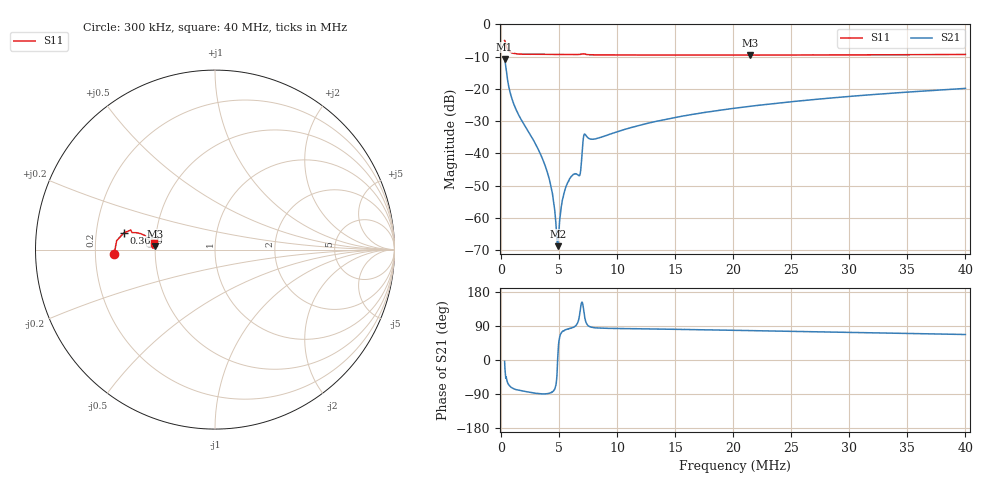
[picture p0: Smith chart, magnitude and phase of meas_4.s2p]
# HZ S RI R 50
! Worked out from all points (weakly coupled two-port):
!   1206 points, 300 kHz to 40 MHz, reference 50 ohm
!   highest |S21| = -10.73 dB at 300 kHz (marker M1); lowest = -68.8 dB at 4.879 MHz (marker M2)
!   lowest |S11| = -9.5 dB at 21.45 MHz (marker M3), VSWR 2.00, Z = 25 + j1.01 ohm
!   |S11| at or under -10 dB: nowhere
!   S12 and S22 are empty: the file has one direction only
!   S11 on the Smith chart (normalised r, x): 300 kHz: 0.28, -0.02; 365.9 kHz: 0.32, +0.08; 40 MHz: 0.49, +0.04
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300000  -0.5621 -0.0269  0.2903 -0.0178  0 0  0 0
365892  -0.5084 0.0926  0.1944 -0.1537  0 0  0 0
761244  -0.369 0.0633  0.0318 -0.084  0 0  0 0
1156596  -0.3499 0.0413  0.0125 -0.0527  0 0  0 0
3924060  -0.3425 0.016  0.000105 -0.00547  0 0  0 0
4385304  -0.3421 0.0158  0.000258 -0.00253  0 0  0 0
4747710  -0.3413 0.0155  0.000333 -0.000599  0 0  0 0
4879494  -0.341 0.0155  0.00036 4.49e-05  0 0  0 0
5307792  -0.3406 0.0151  0.000483 0.00191  0 0  0 0
5571360  -0.34 0.0155  0.0005 0.00296  0 0  0 0
6098496  -0.3399 0.0144  0.000397 0.00446  0 0  0 0
6691524  -0.3411 0.0119  -0.00136 0.00428  0 0  0 0
6922146  -0.3447 0.00827  -0.00646 0.00366  0 0  0 0
7119822  -0.3493 0.0177  -0.012 0.0145  0 0  0 0
7284552  -0.3422 0.0212  -0.00398 0.0188  0 0  0 0
8141148  -0.3364 0.0166  0.00153 0.0167  0 0  0 0
1.354429e7  -0.3339 0.0165  0.00464 0.0315  0 0  0 0
2.016644e7  -0.3341 0.0206  0.0102 0.0491  0 0  0 0
2.145133e7  -0.333 0.018  0.0115 0.0523  0 0  0 0
2.678858e7  -0.3355 0.0258  0.0179 0.0654  0 0  0 0
3.341073e7  -0.3371 0.0312  0.0278 0.0803  0 0  0 0
3.999993e7  -0.3398 0.034  0.0392 0.0937  0 0  0 0
